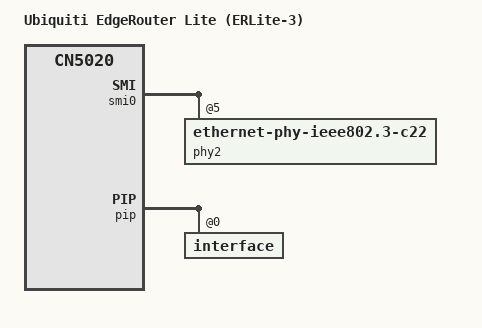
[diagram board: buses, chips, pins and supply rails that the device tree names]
// SPDX-License-Identifier: GPL-2.0-only
/*
 * Device tree source for Ubiquiti EdgeRouter Lite
 */

#include "cn5020_ubnt_e100.dtsi"

/ {
	/* E102 */
	compatible = "ubnt,erlite-3", "ubnt,e100", "cavium,cn5020";
	model = "Ubiquiti EdgeRouter Lite (ERLite-3)";
};

&flash0 {
	compatible = "Macronix,mx29lv320e", "cfi-flash";
	reg = <0 0 0x400000>;

	partitions {
		partition@100000 {
			/* 64k EEPROM */
			reg = <0x100000 0x10000>;
		};

		partition@3fc000 {
			reg = <0x3fc000 0x2000>;
			label = "u-boot_gd";
			read-only;
		};

		partition@3fe000 {
			reg = <0x3fe000 0x2000>;
			compatible = "u-boot,env";
			label = "u-boot_env";
		};
	};
};

&smi0 {
	phy2: ethernet-phy@5 {
		reg = <5>;
		compatible = "ethernet-phy-ieee802.3-c22";
	};
};

&eth0 {
	label = "eth0";
};

&eth1 {
	label = "eth1";
};

&pip {
	interface@0 {
		eth2: ethernet@2 {
			phy-handle = <&phy2>;
			rx-delay = <0>;
			tx-delay = <0x10>;

			label = "eth2";
			nvmem-cells = <&macaddr_eeprom_0 2>;
			nvmem-cell-names = "mac-address";
		};
	};
};
